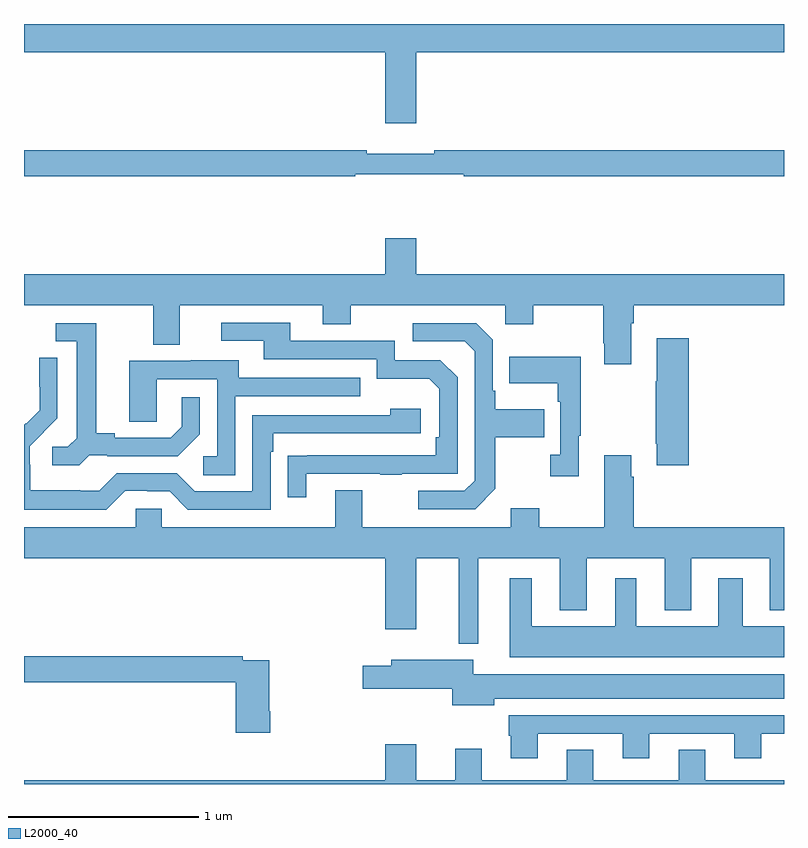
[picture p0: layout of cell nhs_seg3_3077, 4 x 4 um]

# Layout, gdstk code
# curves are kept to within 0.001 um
import gdstk
lib = gdstk.Library(unit=1e-6, precision=1e-09)
def P(c, l, *ps):  # polygons
    for p in ps: c.add(gdstk.Polygon(p, *l))
L2000_40 = (2000, 40)

nhs_seg3_3077 = lib.new_cell('nhs_seg3_3077')
P(nhs_seg3_3077, L2000_40, [(273.064,698.252),(275,698.252),(275,698.4),(271,698.4),(271,698.252),(272.9,698.252),(272.9,697.878),(273.064,697.878)],
  [(272.744,697.608),(273.315,697.608),(273.315,697.6),(275,697.6),(275,697.736),(273.16,697.736),(273.16,697.717),(272.804,697.717),(272.804,697.736),(271,697.736),(271,697.6),(272.744,697.6)],
  [(271,696.92),(271.679,696.92),(271.679,696.712),(271.819,696.712),(271.819,696.92),(272.573,696.92),(272.573,696.821),(272.721,696.821),(272.721,696.92),(273.534,696.92),(273.534,696.821),(273.681,696.821),(273.681,696.92),(274.048,696.92),(274.048,696.721),(274.055,696.721),(274.055,696.609),(274.195,696.609),(274.195,696.824),(274.208,696.824),(274.208,696.92),(275,696.92),(275,697.084),(273.064,697.084),(273.064,697.273),(272.9,697.273),(272.9,697.084),(271,697.084)],
  [(272.485,696.033),(272.875,696.033),(272.875,696.028),(272.987,696.028),(272.987,696.033),(273.282,696.033),(273.282,696.54),(273.192,696.63),(272.952,696.63),(272.952,696.732),(272.401,696.732),(272.401,696.828),(272.037,696.828),(272.037,696.732),(272.261,696.732),(272.261,696.636),(272.856,696.636),(272.856,696.533),(273.133,696.533),(273.186,696.48),(273.186,696.226),(273.166,696.226),(273.166,696.129),(272.389,696.128),(272.389,695.91),(272.485,695.91)],
  [(271.344,696.129),(271.438,696.129),(271.438,696.126),(271.81,696.126),(271.926,696.242),(271.926,696.436),(271.829,696.436),(271.829,696.279),(271.772,696.222),(271.477,696.222),(271.477,696.245),(271.381,696.245),(271.381,696.825),(271.167,696.825),(271.167,696.729),(271.277,696.729),(271.277,696.221),(271.23,696.174),(271.149,696.174),(271.149,696.077),(271.292,696.077)],
  [(273.481,695.953),(273.481,696.226),(273.737,696.226),(273.737,696.373),(273.481,696.373),(273.481,696.469),(273.468,696.469),(273.468,696.738),(273.381,696.825),(273.045,696.825),(273.045,696.729),(273.321,696.729),(273.372,696.678),(273.372,695.997),(273.318,695.943),(273.075,695.943),(273.075,695.847),(273.375,695.847)],
  [(274.499,696.745),(274.331,696.745),(274.331,696.521),(274.324,696.521),(274.324,696.19),(274.331,696.19),(274.331,696.078),(274.499,696.078)],
  [(273.919,696.233),(273.931,696.233),(273.931,696.649),(273.553,696.649),(273.553,696.509),(273.81,696.509),(273.81,696.413),(273.822,696.413),(273.822,696.134),(273.771,696.134),(273.771,696.021),(273.919,696.021)],
  [(271.533,695.943),(271.649,695.943),(271.649,695.94),(271.767,695.94),(271.863,695.844),(272.298,695.844),(272.298,696.149),(272.311,696.149),(272.311,696.246),(273.088,696.246),(273.088,696.376),(272.927,696.376),(272.927,696.342),(272.202,696.342),(272.202,695.94),(271.899,695.94),(271.803,696.036),(271.488,696.036),(271.395,695.943),(271.295,695.943),(271.295,695.947),(271.032,695.947),(271.032,696.081),(271.03,696.081),(271.03,696.178),(271.176,696.326),(271.176,696.644),(271.08,696.644),(271.08,696.49),(271.082,696.49),(271.082,696.368),(271.011,696.297),(271.008,696.3),(271,696.292),(271,695.843),(271.433,695.843)],
  [(272.112,696.441),(272.771,696.441),(272.771,696.537),(272.131,696.537),(272.131,696.631),(271.877,696.631),(271.877,696.627),(271.553,696.627),(271.553,696.307),(271.698,696.307),(271.698,696.531),(272.016,696.531),(272.016,696.126),(271.944,696.126),(271.944,696.025),(272.112,696.025)],
  [(273.391,695.588),(273.821,695.588),(273.821,695.315),(273.961,695.315),(273.961,695.588),(274.373,695.588),(274.373,695.315),(274.513,695.315),(274.513,695.588),(274.925,695.588),(274.925,695.315),(275,695.315),(275,695.752),(274.208,695.752),(274.208,696.017),(274.195,696.017),(274.195,696.13),(274.055,696.13),(274.055,695.752),(273.711,695.752),(273.711,695.851),(273.563,695.851),(273.563,695.752),(272.779,695.752),(272.779,695.947),(272.639,695.947),(272.639,695.752),(271.725,695.752),(271.725,695.85),(271.587,695.85),(271.587,695.752),(271,695.752),(271,695.588),(272.9,695.588),(272.9,695.214),(273.064,695.214),(273.064,695.588),(273.287,695.588),(273.287,695.251),(273.288,695.251),(273.288,695.139),(273.391,695.139)],
  [(275,695.23),(274.783,695.23),(274.783,695.482),(274.655,695.482),(274.655,695.23),(274.222,695.23),(274.222,695.482),(274.112,695.482),(274.112,695.23),(273.673,695.23),(273.673,695.482),(273.557,695.482),(273.557,695.066),(275,695.066)],
  [(272.297,694.783),(272.292,694.783),(272.292,695.052),(272.15,695.052),(272.15,695.072),(271,695.072),(271,694.936),(272.114,694.936),(272.114,694.671),(272.297,694.671)],
  [(273.475,694.85),(275,694.85),(275,694.978),(273.364,694.978),(273.364,695.053),(272.933,695.053),(272.933,695.023),(272.784,695.023),(272.784,694.901),(273.254,694.901),(273.254,694.814),(273.475,694.814)],
  [(273.703,694.665),(274.151,694.665),(274.151,694.536),(274.291,694.536),(274.291,694.665),(274.739,694.665),(274.739,694.536),(274.879,694.536),(274.879,694.665),(275,694.665),(275,694.761),(273.551,694.761),(273.551,694.653),(273.563,694.653),(273.563,694.536),(273.703,694.536)],
  [(275,694.42),(274.585,694.42),(274.585,694.58),(274.445,694.58),(274.445,694.42),(273.997,694.42),(273.997,694.58),(273.857,694.58),(273.857,694.42),(273.409,694.42),(273.409,694.585),(273.269,694.585),(273.269,694.42),(273.064,694.42),(273.064,694.609),(272.9,694.609),(272.9,694.42),(271,694.42),(271,694.4),(275,694.4)])

lib.write_gds('nhs_seg3_3077.gds')
